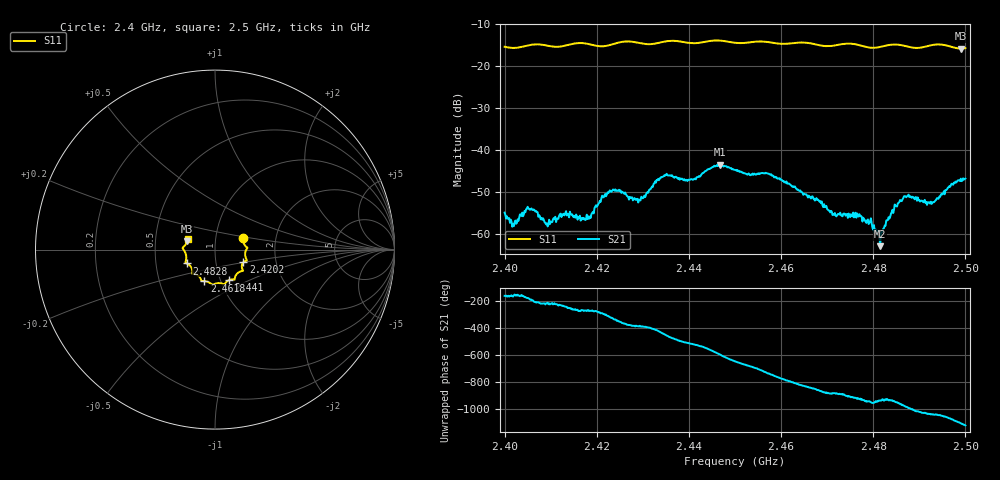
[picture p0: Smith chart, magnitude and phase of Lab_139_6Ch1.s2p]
# Hz S RI R 50
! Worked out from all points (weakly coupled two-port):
!   601 points, 2.4 GHz to 2.5 GHz, reference 50 ohm
!   highest |S21| = -43.57 dB at 2.4467 GHz (marker M1); lowest = -63.0 dB at 2.4815 GHz (marker M2)
!   lowest |S11| = -15.8 dB at 2.499 GHz (marker M3), VSWR 1.38, Z = 36.5 + j3.48 ohm
!   |S11| at or under -10 dB: start of sweep to end of sweep
!   S12 and S22 are empty: the file has one direction only
!   S11 on the Smith chart (normalised r, x): 2.4 GHz: 1.36, +0.18; 2.4202 GHz: 1.36, -0.20; 2.441 GHz: 1.10, -0.39; 2.4618 GHz: 0.84, -0.30; 2.4828 GHz: 0.72, -0.12; 2.5 GHz: 0.73, +0.09
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2.4e9  0.1575 0.063  -0.00169 -0.000566  0 0  0 0
2.402167e9  0.1599 0.0367  -0.0012 -0.000643  0 0  0 0
2.405333e9  0.177 0.0132  -0.00198 8.09e-05  0 0  0 0
2.409e9  0.1758 0.00237  -0.00103 0.000773  0 0  0 0
2.416667e9  0.1778 -0.0601  -9.33e-05 0.0015  0 0  0 0
2.420167e9  0.158 -0.0707  0.000344 0.00213  0 0  0 0
2.423833e9  0.1514 -0.1054  0.00297 0.00132  0 0  0 0
2.4295e9  0.1413 -0.1221  0.0022 -0.00116  0 0  0 0
2.433333e9  0.1122 -0.1511  0.00208 -0.00399  0 0  0 0
2.441e9  0.0785 -0.1695  -0.00417 -0.00146  0 0  0 0
2.446667e9  0.0493 -0.195  -0.00368 0.00551  0 0  0 0
2.45e9  0.0285 -0.187  0.00171 0.00548  0 0  0 0
2.461833e9  -0.0594 -0.1757  0.00108 -0.00376  0 0  0 0
2.466667e9  -0.0778 -0.168  -0.00161 -0.00225  0 0  0 0
2.477e9  -0.1261 -0.1242  -0.0015 0.000813  0 0  0 0
2.4815e9  -0.147 -0.0827  -0.00056 0.000431  0 0  0 0
2.482833e9  -0.1575 -0.0774  -0.00119 0.0008  0 0  0 0
2.483333e9  -0.1604 -0.0762  -0.00126 0.000932  0 0  0 0
2.487167e9  -0.1616 -0.0589  -0.000237 0.0027  0 0  0 0
2.492833e9  -0.1778 0.00362  0.00184 0.00147  0 0  0 0
2.499e9  -0.1545 0.0465  0.00404 -0.00203  0 0  0 0
2.5e9  -0.1517 0.0609  0.00331 -0.0031  0 0  0 0
